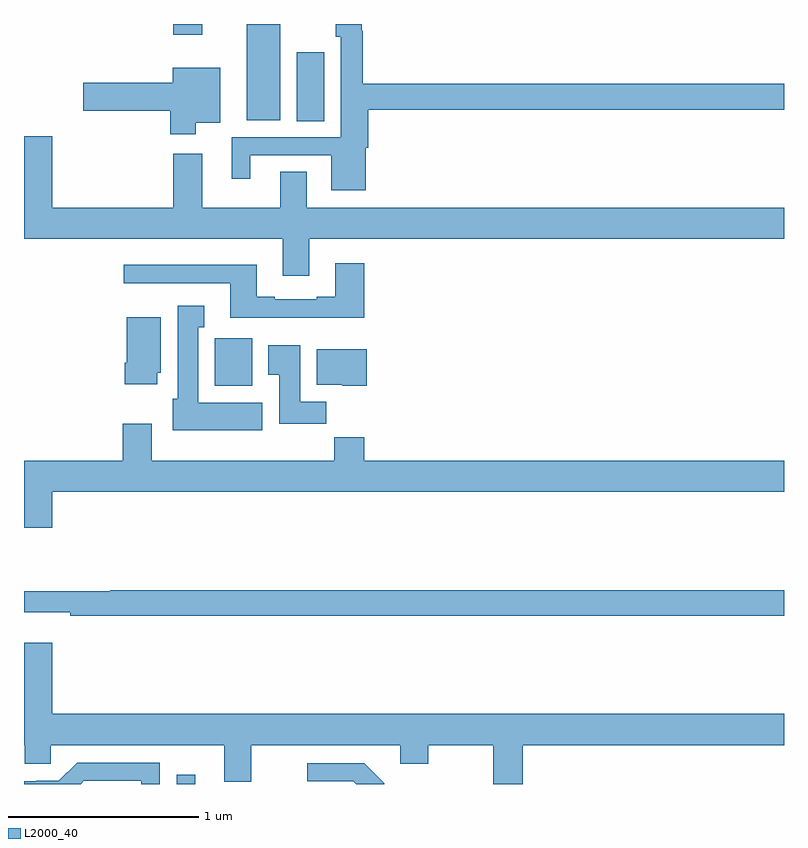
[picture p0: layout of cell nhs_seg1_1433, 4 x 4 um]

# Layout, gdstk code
import gdstk
lib = gdstk.Library(unit=1e-6, precision=1e-09)
def R(c, l, rs):  # rectangles x0, y0, x1, y1
    for r in rs: c.add(gdstk.rectangle(r[:2], r[2:], *l))
def P(c, l, *ps):  # polygons
    for p in ps: c.add(gdstk.Polygon(p, *l))
L2000_40 = (2000, 40)

nhs_seg1_1433 = lib.new_cell('nhs_seg1_1433')
R(nhs_seg1_1433, L2000_40, [(189.805,546.199,189.901,546.247), (190.005,548.294,190.201,548.544), (190.436,549.688,190.579,550.051), (190.172,549.692,190.348,550.199), (189.785,550.143,189.937,550.199)])
P(nhs_seg1_1433, L2000_40, [(190.798,549.549),(190.811,549.549),(190.811,549.748),(193,549.748),(193,549.884),(190.784,549.884),(190.784,550.163),(190.777,550.163),(190.777,550.199),(190.642,550.199),(190.642,550.131),(190.668,550.131),(190.668,549.603),(190.094,549.603),(190.094,549.384),(190.192,549.384),(190.192,549.507),(190.616,549.507),(190.616,549.323),(190.798,549.323)],
  [(189.904,549.68),(190.033,549.68),(190.033,549.97),(189.782,549.97),(189.782,549.89),(189.312,549.89),(189.312,549.743),(189.77,549.743),(189.77,549.618),(189.904,549.618)],
  [(190.501,549.068),(193,549.068),(193,549.232),(190.489,549.232),(190.489,549.422),(190.349,549.422),(190.349,549.232),(189.937,549.232),(189.937,549.517),(189.785,549.517),(189.785,549.232),(189.148,549.232),(189.148,549.607),(189,549.607),(189,549.068),(190.361,549.068),(190.361,548.874),(190.501,548.874)],
  [(190.79,548.941),(190.637,548.941),(190.637,548.764),(190.541,548.764),(190.541,548.751),(190.321,548.751),(190.321,548.764),(190.225,548.764),(190.225,548.932),(189.525,548.932),(189.525,548.835),(190.085,548.835),(190.085,548.654),(190.79,548.654)],
  [(190.255,548.206),(189.916,548.206),(189.916,548.603),(189.949,548.603),(189.949,548.716),(189.809,548.716),(189.809,548.226),(189.782,548.226),(189.782,548.06),(190.255,548.06)],
  [(189.7,548.364),(189.721,548.364),(189.721,548.656),(189.542,548.656),(189.542,548.416),(189.53,548.416),(189.53,548.304),(189.7,548.304)],
  [(190.592,548.212),(190.453,548.212),(190.453,548.509),(190.286,548.509),(190.286,548.353),(190.343,548.353),(190.343,548.094),(190.592,548.094)],
  [(190.805,548.488),(190.541,548.488),(190.541,548.3),(190.674,548.3),(190.674,548.294),(190.805,548.294)],
  [(189.148,547.736),(193,547.736),(193,547.9),(190.79,547.9),(190.79,548.024),(190.633,548.024),(190.633,547.9),(189.673,547.9),(189.673,548.095),(189.521,548.095),(189.521,547.9),(189,547.9),(189,547.548),(189.148,547.548)],
  [(193,547.22),(189.455,547.22),(189.455,547.213),(189,547.213),(189,547.103),(189.244,547.103),(189.244,547.084),(193,547.084)],
  [(191.624,546.404),(193,546.404),(193,546.568),(189.148,546.568),(189.148,546.943),(189,546.943),(189,546.404),(189.003,546.404),(189.003,546.306),(189.141,546.306),(189.141,546.404),(190.055,546.404),(190.055,546.21),(190.195,546.21),(190.195,546.404),(190.979,546.404),(190.979,546.305),(191.127,546.305),(191.127,546.404),(191.471,546.404),(191.471,546.199),(191.624,546.199)],
  [(189.315,546.216),(189.618,546.216),(189.618,546.199),(189.714,546.199),(189.714,546.312),(189.279,546.312),(189.183,546.216),(189.065,546.216),(189.065,546.213),(189,546.213),(189,546.199),(189.298,546.199)],
  [(190.897,546.203),(190.791,546.309),(190.491,546.309),(190.491,546.213),(190.734,546.213),(190.748,546.199),(190.897,546.199)])

lib.write_gds('nhs_seg1_1433.gds')
